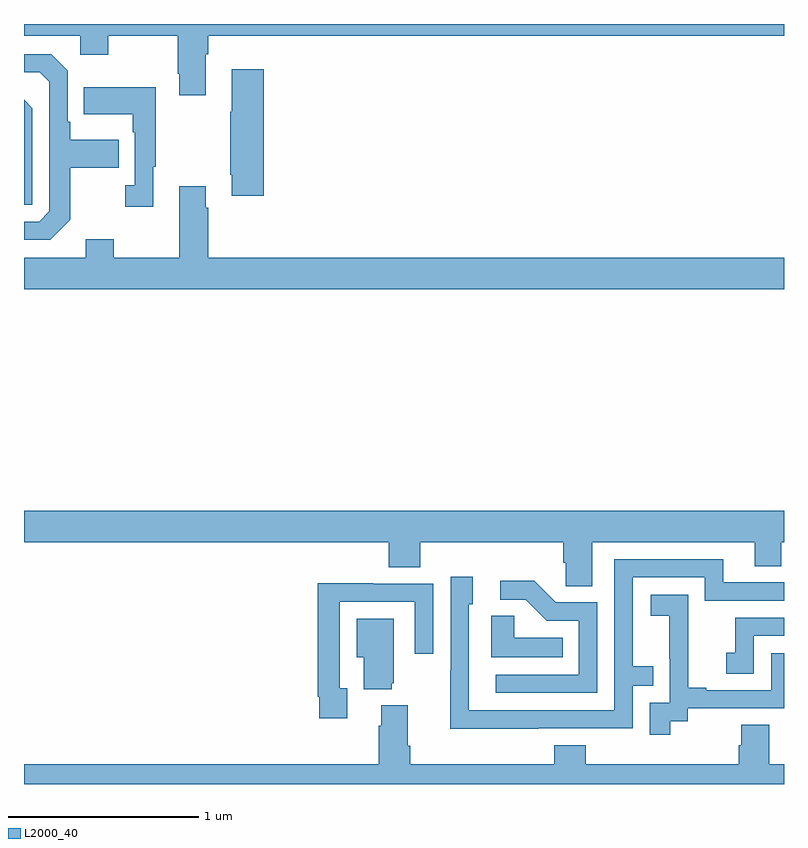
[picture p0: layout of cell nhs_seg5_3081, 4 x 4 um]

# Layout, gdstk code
import gdstk
lib = gdstk.Library(unit=1e-6, precision=1e-09)
def P(c, l, *ps):  # polygons
    for p in ps: c.add(gdstk.Polygon(p, *l))
L2000_40 = (2000, 40)

nhs_seg5_3081 = lib.new_cell('nhs_seg5_3081')
P(nhs_seg5_3081, L2000_40, [(289.957,880.64),(289.97,880.64),(289.97,880.736),(293,880.736),(293,880.799),(289,880.799),(289,880.736),(289.296,880.736),(289.296,880.637),(289.443,880.637),(289.443,880.736),(289.81,880.736),(289.81,880.537),(289.817,880.537),(289.817,880.425),(289.957,880.425)],
  [(289.243,879.769),(289.243,880.042),(289.499,880.042),(289.499,880.189),(289.243,880.189),(289.243,880.285),(289.23,880.285),(289.23,880.554),(289.143,880.641),(289,880.641),(289,880.545),(289.083,880.545),(289.134,880.494),(289.134,879.813),(289.08,879.759),(289,879.759),(289,879.663),(289.137,879.663)],
  [(290.261,880.561),(290.093,880.561),(290.093,880.337),(290.086,880.337),(290.086,880.006),(290.093,880.006),(290.093,879.894),(290.261,879.894)],
  [(289.681,880.049),(289.693,880.049),(289.693,880.465),(289.315,880.465),(289.315,880.325),(289.572,880.325),(289.572,880.229),(289.584,880.229),(289.584,879.95),(289.533,879.95),(289.533,879.837),(289.681,879.837)],
  [(289.044,880.356),(289,880.4),(289,879.849),(289.044,879.849)],
  [(293,879.568),(289.97,879.568),(289.97,879.833),(289.957,879.833),(289.957,879.946),(289.817,879.946),(289.817,879.568),(289.473,879.568),(289.473,879.667),(289.325,879.667),(289.325,879.568),(289,879.568),(289,879.404),(293,879.404)],
  [(291.991,878.072),(292.847,878.072),(292.847,877.945),(292.986,877.945),(292.986,878.072),(293,878.072),(293,878.236),(289,878.236),(289,878.072),(290.921,878.072),(290.921,877.939),(291.086,877.939),(291.086,878.072),(291.839,878.072),(291.839,877.963),(291.852,877.963),(291.852,877.84),(291.991,877.84)],
  [(291.707,877.092),(292.203,877.092),(292.203,877.317),(292.313,877.317),(292.313,877.418),(292.203,877.418),(292.203,877.887),(292.584,877.887),(292.584,877.764),(293,877.764),(293,877.86),(292.681,877.86),(292.681,877.983),(292.107,877.983),(292.107,877.188),(291.342,877.188),(291.342,877.746),(291.361,877.746),(291.361,877.891),(291.246,877.891),(291.246,877.397),(291.244,877.397),(291.244,877.091),(291.707,877.091)],
  [(292.017,877.755),(291.798,877.755),(291.685,877.868),(291.507,877.868),(291.507,877.77),(291.641,877.77),(291.752,877.659),(291.921,877.659),(291.921,877.374),(291.483,877.374),(291.483,877.278),(292.017,877.278)],
  [(290.701,877.302),(290.661,877.302),(290.661,877.758),(291.057,877.758),(291.057,877.485),(291.153,877.485),(291.153,877.854),(290.837,877.854),(290.837,877.856),(290.545,877.856),(290.545,877.258),(290.553,877.258),(290.553,877.146),(290.701,877.146)],
  [(292.402,877.129),(292.494,877.129),(292.494,877.197),(293,877.197),(293,877.488),(292.932,877.488),(292.932,877.293),(292.591,877.293),(292.591,877.306),(292.496,877.306),(292.496,877.589),(292.497,877.589),(292.497,877.795),(292.299,877.795),(292.299,877.685),(292.397,877.685),(292.397,877.457),(292.398,877.457),(292.398,877.227),(292.293,877.227),(292.293,877.059),(292.402,877.059)],
  [(291.836,877.57),(291.579,877.57),(291.579,877.685),(291.458,877.685),(291.458,877.466),(291.836,877.466)],
  [(292.842,877.578),(293,877.578),(293,877.674),(292.744,877.674),(292.744,877.489),(292.695,877.489),(292.695,877.38),(292.842,877.38)],
  [(290.936,877.329),(290.947,877.329),(290.947,877.669),(290.75,877.669),(290.75,877.466),(290.789,877.466),(290.789,877.298),(290.936,877.298)],
  [(293,876.904),(292.923,876.904),(292.923,877.112),(292.775,877.112),(292.775,877.002),(292.763,877.002),(292.763,876.904),(291.956,876.904),(291.956,877.003),(291.791,877.003),(291.791,876.904),(291.032,876.904),(291.032,877),(291.019,877),(291.019,877.213),(290.879,877.213),(290.879,877.106),(290.867,877.106),(290.867,876.904),(289,876.904),(289,876.799),(293,876.799)])

lib.write_gds('nhs_seg5_3081.gds')
